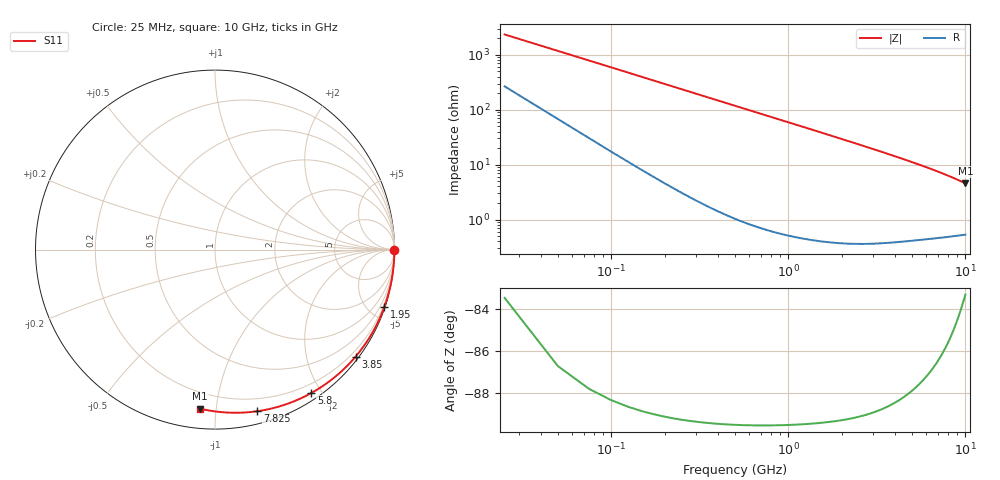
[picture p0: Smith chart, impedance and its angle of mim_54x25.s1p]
#  Hz  S  RI  R  5
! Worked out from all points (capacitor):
!   400 points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, 25 MHz to 10 GHz, reference 5 ohm
!   read as one part to ground: C = 2.69 pF near 75 MHz
!   lowest |Z| = 4.56 ohm at 10 GHz (marker M1)
!   S11 on the Smith chart (normalised r, x): 25 MHz: open; 1.95 GHz: 0.07, -6.03; 3.85 GHz: 0.08, -2.96; 5.8 GHz: 0.09, -1.87; 7.825 GHz: 0.10, -1.29; 10 GHz: 0.11, -0.91
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2.5e7  0.9995 -0.00422
3.25e8  0.9979 -0.0548
6.5e8  0.9931 -0.1093
9.5e8  0.9859 -0.1592
1.275e9  0.9751 -0.2128
1.6e9  0.9611 -0.2656
1.95e9  0.9427 -0.3215
2.225e9  0.9258 -0.3645
2.525e9  0.9049 -0.4104
2.825e9  0.8815 -0.4551
3.15e9  0.8533 -0.5019
3.45e9  0.8249 -0.5434
3.775e9  0.7917 -0.5865
3.85e9  0.7836 -0.5961
4.45e9  0.715 -0.6686
5.025e9  0.6426 -0.7299
5.425e9  0.589 -0.7676
5.8e9  0.5368 -0.799
6.275e9  0.4684 -0.8332
6.6e9  0.4204 -0.853
6.9e9  0.3756 -0.8686
7.2e9  0.3303 -0.8816
7.525e9  0.2809 -0.8928
7.825e9  0.2353 -0.9006
8.3e9  0.1634 -0.9077
8.775e9  0.0925 -0.9088
9.375e9  0.00523 -0.9022
1e10  -0.0821 -0.8867
